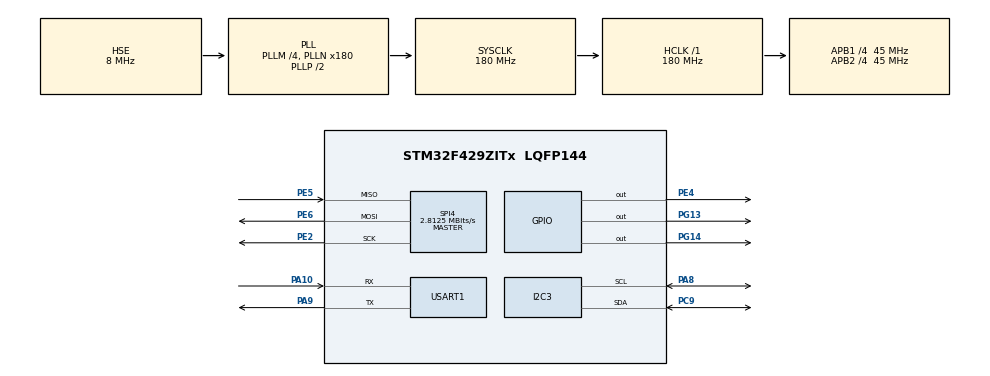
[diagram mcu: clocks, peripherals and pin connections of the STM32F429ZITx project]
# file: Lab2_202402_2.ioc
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I2C3.I2C_Mode=I2C_Fast
Mcu.Family=STM32F4
Mcu.Name=STM32F429ZITx
Mcu.Package=LQFP144
NVIC.PriorityGroup=NVIC_PRIORITYGROUP_4
NVIC.USART1_IRQn=true\:0\:0\:false\:false\:true\:true\:true\:true
PA10.Mode=Asynchronous
PA10.Signal=USART1_RX
PA8.Mode=I2C
PA8.Signal=I2C3_SCL
PA9.Mode=Asynchronous
PA9.Signal=USART1_TX
PC9.Mode=I2C
PC9.Signal=I2C3_SDA
PE2.Mode=Full_Duplex_Master
PE2.Signal=SPI4_SCK
PE4.Signal=GPIO_Output
PE5.Mode=Full_Duplex_Master
PE5.Signal=SPI4_MISO
PE6.Mode=Full_Duplex_Master
PE6.Signal=SPI4_MOSI
PG13.Signal=GPIO_Output
PG14.Signal=GPIO_Output
PH0/OSC_IN.Mode=HSE-External-Oscillator
PH0/OSC_IN.Signal=RCC_OSC_IN
PH1/OSC_OUT.Mode=HSE-External-Oscillator
PH1/OSC_OUT.Signal=RCC_OSC_OUT
ProjectManager.HeapSize=0x200
ProjectManager.StackSize=0x400
ProjectManager.TargetToolchain=STM32CubeIDE
RCC.48MHZClocksFreq_Value=90000000
RCC.AHBFreq_Value=180000000
RCC.APB1CLKDivider=RCC_HCLK_DIV4
RCC.APB1Freq_Value=45000000
RCC.APB1TimFreq_Value=90000000
RCC.APB2CLKDivider=RCC_HCLK_DIV4
RCC.APB2Freq_Value=45000000
RCC.APB2TimFreq_Value=90000000
RCC.CortexFreq_Value=180000000
RCC.HCLKFreq_Value=180000000
RCC.HSE_VALUE=8000000
RCC.HSI_VALUE=16000000
RCC.LSE_VALUE=32768
RCC.PLLM=4
RCC.PLLN=180
RCC.PLLSourceVirtual=RCC_PLLSOURCE_HSE
RCC.SYSCLKFreq_VALUE=180000000
RCC.SYSCLKSource=RCC_SYSCLKSOURCE_PLLCLK
RCC.VCOOutputFreq_Value=360000000
SPI4.BaudRatePrescaler=SPI_BAUDRATEPRESCALER_16
SPI4.CalculateBaudRate=2.8125 MBits/s
SPI4.Direction=SPI_DIRECTION_2LINES
SPI4.Mode=SPI_MODE_MASTER
SPI4.VirtualType=VM_MASTER
USART1.VirtualMode=VM_ASYNC
board=custom

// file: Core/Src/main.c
/* USER CODE BEGIN Header */
/**
  ******************************************************************************
  * @file           : main.c
  * @brief          : Main program body
  ******************************************************************************
  * @attention
  *
  * Copyright (c) 2025 STMicroelectronics.
  * All rights reserved.
  *
  * This software is licensed under terms that can be found in the LICENSE file
  * in the root directory of this software component.
  * If no LICENSE file comes with this software, it is provided AS-IS.
  *
  ******************************************************************************
  */
/* USER CODE END Header */
#include "main.h"

/* USER CODE BEGIN Includes */
#include "SH1106.h"
#include "fonts.h"
#include "tm_stm32f4_mfrc522.h"
/* USER CODE END Includes */

I2C_HandleTypeDef hi2c3;

SPI_HandleTypeDef hspi4;

UART_HandleTypeDef huart1;

void SystemClock_Config(void);
static void MX_GPIO_Init(void);
static void MX_I2C3_Init(void);
static void MX_SPI4_Init(void);
static void MX_USART1_UART_Init(void);

/* USER CODE BEGIN 0 */
struct Time{
    uint8_t sec;
    uint8_t min;
    uint8_t hour;
    uint8_t weekday;
    uint8_t day;
    uint8_t month;
    uint8_t year;
};
#define MAX_LOG 100
#define MAX_AUTH_CARDS 10
typedef struct {
    struct Time time;
    uint8_t cardID[5];
} LogEntry;

LogEntry logData[MAX_LOG];
uint8_t logIndex = 0;
uint8_t authCards[MAX_AUTH_CARDS][5] = {{0x43, 0xB7, 0x82, 0x34, 0x42}};
uint8_t authCount = 1;

void SetTime(I2C_HandleTypeDef *hi2c, struct Time *time) {
    HAL_I2C_Mem_Write(hi2c, 0xD0, 0x00, 1, (uint8_t *)time, 7, 1000);
}

void GetTime(I2C_HandleTypeDef *hi2c, struct Time *time) {
    HAL_I2C_Mem_Read(hi2c, 0xD1, 0x00, 1, (uint8_t *)time, 7, 1000);
}

uint8_t isAuthorized(uint8_t* card) {
    for (int i = 0; i < authCount; i++) {
        if (memcmp(card, authCards[i], 5) == 0)
            return 1;
    }
    return 0;
}
void saveLog(struct Time t, uint8_t* card) {
    if (logIndex < MAX_LOG) {
        logData[logIndex].time = t;
        memcpy(logData[logIndex].cardID, card, 5);
        logIndex++;
    }
}
#define RX_BUFFER_SIZE 64

uint8_t rxBuffer[RX_BUFFER_SIZE]; // đừng quên khai báo ngoài
char txBuf[128];
uint8_t rxByte; // Byte vừa nhận
char rxCmd[64]; //Chuỗi lệnh đang nhận
uint8_t rxIndex = 0; // Vị trí đang ghi vào rxCmd

void HAL_UART_RxCpltCallback(UART_HandleTypeDef *huart) {
    if (huart->Instance == USART1) {
        if (rxByte == '\n' || rxByte == '\r') {
            rxCmd[rxIndex] = '\0';  // Kết thúc chuỗi
            rxIndex = 0;

            if (strncmp(rxCmd, "SHOW", 4) == 0) { // Kiểm tra chuỗi nhận
                for (int i = 0; i < logIndex; i++) { // Duyệt toàn bộ log và in ra
                    sprintf(txBuf, "Time: %02d:%02d:%02d Card: %02X %02X %02X %02X %02X\r\n",
                            logData[i].time.hour,
                            logData[i].time.min,
                            logData[i].time.sec,
                            logData[i].cardID[0], logData[i].cardID[1],
                            logData[i].cardID[2], logData[i].cardID[3],
                            logData[i].cardID[4]);
                    HAL_UART_Transmit(&huart1, (uint8_t*)txBuf, strlen(txBuf), 1000);
                }
            } else if (strncmp(rxCmd, "ADD", 3) == 0) { // Kiểm tra lệnh ADD
                uint8_t card[5];
                int values[5];
                if (sscanf(rxCmd + 4, "%x %x %x %x %x", &values[0], &values[1], &values[2], &values[3], &values[4]) == 5) { // Kiểm tra format của chuỗi gửi
                    for (int i = 0; i < 5; i++) {
                        card[i] = (uint8_t)values[i];
                    }

                    if (authCount < MAX_AUTH_CARDS) {
                        memcpy(authCards[authCount], card, 5);
                        authCount++;

                        sprintf(txBuf, "Added card: %02X %02X %02X %02X %02X\r\n",
                                card[0], card[1], card[2], card[3], card[4]);
                        HAL_UART_Transmit(&huart1, (uint8_t*)txBuf, strlen(txBuf), 1000);
                    } else {
                        HAL_UART_Transmit(&huart1, (uint8_t*)"Card list full\r\n", 16, 1000);
                    }
                } else {
                    HAL_UART_Transmit(&huart1, (uint8_t*)"Invalid ADD format\r\n", 21, 1000);
                }
            } else {
                HAL_UART_Transmit(&huart1, (uint8_t*)"Unknown cmd\r\n", 13, 1000);
            }
        } else {
            if (rxIndex < sizeof(rxCmd) - 1) {
                rxCmd[rxIndex++] = rxByte;
            }
        }

        // Nhận tiếp
        HAL_UART_Receive_IT(&huart1, &rxByte, 1);
    }
}

/* USER CODE END 0 */

int main(void)
{

  /* MCU Configuration--------------------------------------------------------*/

  /* Reset of all peripherals, Initializes the Flash interface and the Systick. */
  HAL_Init();

  /* Configure the system clock */
  SystemClock_Config();

  /* Initialize all configured peripherals */
  MX_GPIO_Init();
  MX_I2C3_Init();
  MX_SPI4_Init();
  MX_USART1_UART_Init();
  /* USER CODE BEGIN 2 */
  HAL_UART_Receive_IT(&huart1, &rxByte, 1);
  TM_MFRC522_Init();
  SH1106_Init();
  /* USER CODE END 2 */

  /* Infinite loop */
  /* USER CODE BEGIN WHILE */
  while (1)
  {
	  uint8_t cardID[5];
	  if (TM_MFRC522_Check(cardID) == MI_OK) {
	      HAL_GPIO_WritePin(GPIOG, GPIO_PIN_13, GPIO_PIN_SET); // LED3 ON
	      if (isAuthorized(cardID)) {
	          HAL_GPIO_WritePin(GPIOG, GPIO_PIN_14, GPIO_PIN_SET); // LED4 ON

	          SH1106_Fill(SH1106_COLOR_BLACK);
	          SH1106_GotoXY(12, 0);
	          SH1106_Puts("Welcome", &Font_11x18, 1);
	          SH1106_UpdateScreen();

	          struct Time t;
	          GetTime(&hi2c3, &t);
	          saveLog(t, cardID);
	      } else {
	          SH1106_Fill(SH1106_COLOR_BLACK);
	          SH1106_GotoXY(12, 0);
	          SH1106_Puts("Rejected", &Font_11x18, 1);
	          SH1106_UpdateScreen();
	      }
	  } else {
		  SH1106_GotoXY(12, 0);
		  SH1106_Puts("No card!", &Font_11x18, 1);
		  SH1106_UpdateScreen();
	      HAL_GPIO_WritePin(GPIOG, GPIO_PIN_13, GPIO_PIN_RESET); // LED3 OFF
	      HAL_GPIO_WritePin(GPIOG, GPIO_PIN_14, GPIO_PIN_RESET); // LED4 OFF
	  }
    /* USER CODE END WHILE */

  }
}

void SystemClock_Config(void)
{
  RCC_OscInitTypeDef RCC_OscInitStruct = {0};
  RCC_ClkInitTypeDef RCC_ClkInitStruct = {0};

  /** Configure the main internal regulator output voltage
  */
  __HAL_RCC_PWR_CLK_ENABLE();
  __HAL_PWR_VOLTAGESCALING_CONFIG(PWR_REGULATOR_VOLTAGE_SCALE1);

  /** Initializes the RCC Oscillators according to the specified parameters
  * in the RCC_OscInitTypeDef structure.
  */
  RCC_OscInitStruct.OscillatorType = RCC_OSCILLATORTYPE_HSE;
  RCC_OscInitStruct.HSEState = RCC_HSE_ON;
  RCC_OscInitStruct.PLL.PLLState = RCC_PLL_ON;
  RCC_OscInitStruct.PLL.PLLSource = RCC_PLLSOURCE_HSE;
  RCC_OscInitStruct.PLL.PLLM = 4;
  RCC_OscInitStruct.PLL.PLLN = 180;
  RCC_OscInitStruct.PLL.PLLP = RCC_PLLP_DIV2;
  RCC_OscInitStruct.PLL.PLLQ = 4;
  if (HAL_RCC_OscConfig(&RCC_OscInitStruct) != HAL_OK)
  {
    Error_Handler();
  }

  /** Activate the Over-Drive mode
  */
  if (HAL_PWREx_EnableOverDrive() != HAL_OK)
  {
    Error_Handler();
  }

  /** Initializes the CPU, AHB and APB buses clocks
  */
  RCC_ClkInitStruct.ClockType = RCC_CLOCKTYPE_HCLK|RCC_CLOCKTYPE_SYSCLK
                              |RCC_CLOCKTYPE_PCLK1|RCC_CLOCKTYPE_PCLK2;
  RCC_ClkInitStruct.SYSCLKSource = RCC_SYSCLKSOURCE_PLLCLK;
  RCC_ClkInitStruct.AHBCLKDivider = RCC_SYSCLK_DIV1;
  RCC_ClkInitStruct.APB1CLKDivider = RCC_HCLK_DIV4;
  RCC_ClkInitStruct.APB2CLKDivider = RCC_HCLK_DIV4;

  if (HAL_RCC_ClockConfig(&RCC_ClkInitStruct, FLASH_LATENCY_5) != HAL_OK)
  {
    Error_Handler();
  }
}

static void MX_I2C3_Init(void)
{

  hi2c3.Instance = I2C3;
  hi2c3.Init.ClockSpeed = 400000;
  hi2c3.Init.DutyCycle = I2C_DUTYCYCLE_2;
  hi2c3.Init.OwnAddress1 = 0;
  hi2c3.Init.AddressingMode = I2C_ADDRESSINGMODE_7BIT;
  hi2c3.Init.DualAddressMode = I2C_DUALADDRESS_DISABLE;
  hi2c3.Init.OwnAddress2 = 0;
  hi2c3.Init.GeneralCallMode = I2C_GENERALCALL_DISABLE;
  hi2c3.Init.NoStretchMode = I2C_NOSTRETCH_DISABLE;
  if (HAL_I2C_Init(&hi2c3) != HAL_OK)
  {
    Error_Handler();
  }

  /** Configure Analogue filter
  */
  if (HAL_I2CEx_ConfigAnalogFilter(&hi2c3, I2C_ANALOGFILTER_ENABLE) != HAL_OK)
  {
    Error_Handler();
  }

  /** Configure Digital filter
  */
  if (HAL_I2CEx_ConfigDigitalFilter(&hi2c3, 0) != HAL_OK)
  {
    Error_Handler();
  }

}

static void MX_SPI4_Init(void)
{

  /* SPI4 parameter configuration*/
  hspi4.Instance = SPI4;
  hspi4.Init.Mode = SPI_MODE_MASTER;
  hspi4.Init.Direction = SPI_DIRECTION_2LINES;
  hspi4.Init.DataSize = SPI_DATASIZE_8BIT;
  hspi4.Init.CLKPolarity = SPI_POLARITY_LOW;
  hspi4.Init.CLKPhase = SPI_PHASE_1EDGE;
  hspi4.Init.NSS = SPI_NSS_SOFT;
  hspi4.Init.BaudRatePrescaler = SPI_BAUDRATEPRESCALER_16;
  hspi4.Init.FirstBit = SPI_FIRSTBIT_MSB;
  hspi4.Init.TIMode = SPI_TIMODE_DISABLE;
  hspi4.Init.CRCCalculation = SPI_CRCCALCULATION_DISABLE;
  hspi4.Init.CRCPolynomial = 10;
  if (HAL_SPI_Init(&hspi4) != HAL_OK)
  {
    Error_Handler();
  }

}

static void MX_USART1_UART_Init(void)
{

  huart1.Instance = USART1;
  huart1.Init.BaudRate = 115200;
  huart1.Init.WordLength = UART_WORDLENGTH_8B;
  huart1.Init.StopBits = UART_STOPBITS_1;
  huart1.Init.Parity = UART_PARITY_NONE;
  huart1.Init.Mode = UART_MODE_TX_RX;
  huart1.Init.HwFlowCtl = UART_HWCONTROL_NONE;
  huart1.Init.OverSampling = UART_OVERSAMPLING_16;
  if (HAL_UART_Init(&huart1) != HAL_OK)
  {
    Error_Handler();
  }

}

static void MX_GPIO_Init(void)
{
  GPIO_InitTypeDef GPIO_InitStruct = {0};

  /* GPIO Ports Clock Enable */
  __HAL_RCC_GPIOE_CLK_ENABLE();
  __HAL_RCC_GPIOH_CLK_ENABLE();
  __HAL_RCC_GPIOC_CLK_ENABLE();
  __HAL_RCC_GPIOA_CLK_ENABLE();
  __HAL_RCC_GPIOG_CLK_ENABLE();

  /*Configure GPIO pin Output Level */
  HAL_GPIO_WritePin(GPIOE, GPIO_PIN_4, GPIO_PIN_RESET);

  /*Configure GPIO pin Output Level */
  HAL_GPIO_WritePin(GPIOG, GPIO_PIN_13|GPIO_PIN_14, GPIO_PIN_RESET);

  /*Configure GPIO pin : PE4 */
  GPIO_InitStruct.Pin = GPIO_PIN_4;
  GPIO_InitStruct.Mode = GPIO_MODE_OUTPUT_PP;
  GPIO_InitStruct.Pull = GPIO_NOPULL;
  GPIO_InitStruct.Speed = GPIO_SPEED_FREQ_LOW;
  HAL_GPIO_Init(GPIOE, &GPIO_InitStruct);

  /*Configure GPIO pins : PG13 PG14 */
  GPIO_InitStruct.Pin = GPIO_PIN_13|GPIO_PIN_14;
  GPIO_InitStruct.Mode = GPIO_MODE_OUTPUT_PP;
  GPIO_InitStruct.Pull = GPIO_NOPULL;
  GPIO_InitStruct.Speed = GPIO_SPEED_FREQ_LOW;
  HAL_GPIO_Init(GPIOG, &GPIO_InitStruct);

}

void Error_Handler(void)
{
  __disable_irq();
  while (1)
  {
  }
}
